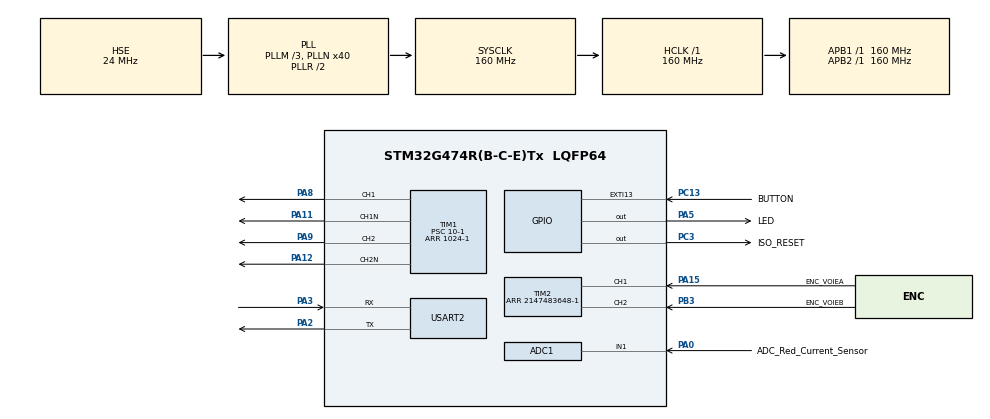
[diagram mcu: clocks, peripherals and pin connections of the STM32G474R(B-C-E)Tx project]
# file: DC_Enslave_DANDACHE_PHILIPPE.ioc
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ADC1.Channel-0\#ChannelRegularConversion=ADC_CHANNEL_1
ADC1.DMAContinuousRequests=ENABLE
ADC1.ExternalTrigConv=ADC_EXTERNALTRIG_T1_TRGO
ADC1.NbrOfConversion=1
ADC1.NbrOfConversionFlag=1
ADC1.OffsetNumber-0\#ChannelRegularConversion=ADC_OFFSET_NONE
ADC1.Rank-0\#ChannelRegularConversion=1
ADC1.SamplingTime-0\#ChannelRegularConversion=ADC_SAMPLETIME_24CYCLES_5
ADC1.master=1
Dma.ADC1.0.Direction=DMA_PERIPH_TO_MEMORY
Dma.ADC1.0.EventEnable=DISABLE
Dma.ADC1.0.Instance=DMA1_Channel1
Dma.ADC1.0.MemDataAlignment=DMA_MDATAALIGN_HALFWORD
Dma.ADC1.0.MemInc=DMA_MINC_ENABLE
Dma.ADC1.0.Mode=DMA_CIRCULAR
Dma.ADC1.0.PeriphDataAlignment=DMA_PDATAALIGN_HALFWORD
Dma.ADC1.0.PeriphInc=DMA_PINC_DISABLE
Dma.ADC1.0.Polarity=HAL_DMAMUX_REQ_GEN_RISING
Dma.ADC1.0.Priority=DMA_PRIORITY_LOW
Dma.ADC1.0.RequestNumber=1
Dma.ADC1.0.SignalID=NONE
Dma.ADC1.0.SyncEnable=DISABLE
Dma.ADC1.0.SyncPolarity=HAL_DMAMUX_SYNC_NO_EVENT
Dma.ADC1.0.SyncRequestNumber=1
Dma.ADC1.0.SyncSignalID=NONE
Dma.Request0=ADC1
Mcu.Family=STM32G4
Mcu.Name=STM32G474R(B-C-E)Tx
Mcu.Package=LQFP64
NVIC.DMA1_Channel1_IRQn=true\:0\:0\:false\:false\:true\:false\:true\:true
NVIC.EXTI15_10_IRQn=true\:0\:0\:false\:false\:true\:true\:true\:true
NVIC.PriorityGroup=NVIC_PRIORITYGROUP_4
NVIC.TIM1_UP_TIM16_IRQn=true\:0\:0\:false\:false\:true\:true\:true\:true
NVIC.TIM3_IRQn=true\:0\:0\:false\:false\:true\:true\:true\:true
NVIC.TIM4_IRQn=true\:0\:0\:false\:false\:true\:true\:true\:true
NVIC.TIM6_DAC_IRQn=true\:0\:0\:false\:false\:true\:true\:true\:true
NVIC.USART2_IRQn=true\:0\:0\:false\:false\:true\:true\:true\:true
PA0.GPIO_Label=ADC_Red_Current_Sensor
PA0.Mode=IN1-Single-Ended
PA0.Signal=ADC1_IN1
PA11.Mode=PWM Generation1 CH1 CH1N
PA11.Signal=TIM1_CH1N
PA12.Mode=PWM Generation2 CH2 CH2N
PA12.Signal=TIM1_CH2N
PA13.GPIO_Label=T_SWDIO
PA13.Mode=Serial_Wire
PA13.Signal=SYS_JTMS-SWDIO
PA14.GPIO_Label=T_SWCLK
PA14.Mode=Serial_Wire
PA14.Signal=SYS_JTCK-SWCLK
PA15.GPIO_Label=ENC_VOIEA
PA15.Signal=S_TIM2_CH1
PA2.Mode=Asynchronous
PA2.Signal=USART2_TX
PA3.Mode=Asynchronous
PA3.Signal=USART2_RX
PA5.GPIO_Label=LED
PA5.Signal=GPIO_Output
PA8.Signal=S_TIM1_CH1
PA9.Signal=S_TIM1_CH2
PB3.GPIO_Label=ENC_VOIEB
PB3.Signal=S_TIM2_CH2
PC13.GPIO_Label=BUTTON
PC13.Signal=GPXTI13
PC14-OSC32_IN.Mode=LSE-External-Oscillator
PC14-OSC32_IN.Signal=RCC_OSC32_IN
PC15-OSC32_OUT.Mode=LSE-External-Oscillator
PC15-OSC32_OUT.Signal=RCC_OSC32_OUT
PC3.GPIO_Label=ISO_RESET
PC3.Signal=GPIO_Output
PF0-OSC_IN.Mode=HSE-External-Oscillator
PF0-OSC_IN.Signal=RCC_OSC_IN
PF1-OSC_OUT.Mode=HSE-External-Oscillator
PF1-OSC_OUT.Signal=RCC_OSC_OUT
ProjectManager.HeapSize=0x200
ProjectManager.StackSize=0x400
ProjectManager.TargetToolchain=STM32CubeIDE
RCC.ADC12Freq_Value=160000000
RCC.ADC345Freq_Value=160000000
RCC.AHBFreq_Value=160000000
RCC.APB1Freq_Value=160000000
RCC.APB1TimFreq_Value=160000000
RCC.APB2Freq_Value=160000000
RCC.APB2TimFreq_Value=160000000
RCC.CortexFreq_Value=160000000
RCC.EXTERNAL_CLOCK_VALUE=12288000
RCC.HCLKFreq_Value=160000000
RCC.HSE_VALUE=24000000
RCC.HSI48_VALUE=48000000
RCC.HSI_VALUE=16000000
RCC.PLLM=RCC_PLLM_DIV3
RCC.PLLN=40
RCC.PLLSourceVirtual=RCC_PLLSOURCE_HSE
RCC.RTCClockSelection=RCC_RTCCLKSOURCE_LSE
RCC.SYSCLKFreq_VALUE=160000000
RCC.SYSCLKSource=RCC_SYSCLKSOURCE_PLLCLK
RCC.USBFreq_Value=160000000
RCC.VCOOutputFreq_Value=320000000
SH.S_TIM1_CH1.0=TIM1_CH1,PWM Generation1 CH1 CH1N
SH.S_TIM1_CH2.0=TIM1_CH2,PWM Generation2 CH2 CH2N
SH.S_TIM2_CH1.0=TIM2_CH1,Encoder_Interface
SH.S_TIM2_CH2.0=TIM2_CH2,Encoder_Interface
TIM1.AutoReloadPreload=TIM_AUTORELOAD_PRELOAD_ENABLE
TIM1.BreakState=TIM_BREAK_DISABLE
TIM1.Channel-PWM\ Generation1\ CH1\ CH1N=TIM_CHANNEL_1
TIM1.Channel-PWM\ Generation2\ CH2\ CH2N=TIM_CHANNEL_2
TIM1.CounterMode=TIM_COUNTERMODE_CENTERALIGNED1
TIM1.DeadTime=208
TIM1.DeadTimePreload=ENABLE
TIM1.PeriodNoDither=1024-1
TIM1.Prescaler=10-1
TIM1.PulseNoDither_1=512
TIM1.PulseNoDither_2=512
TIM1.TIM_MasterOutputTrigger=TIM_TRGO_UPDATE
TIM1.TIM_MasterSlaveMode=TIM_MASTERSLAVEMODE_ENABLE
TIM2.AutoReloadPreload=TIM_AUTORELOAD_PRELOAD_ENABLE
TIM2.EncoderMode=TIM_ENCODERMODE_TI12
TIM2.IC1Filter=0
TIM2.IC2Filter=0
TIM2.PeriodNoDither=2147483648-1
TIM3.AutoReloadPreload=TIM_AUTORELOAD_PRELOAD_ENABLE
TIM3.PeriodNoDither=10000-1
TIM3.Prescaler=16000-1
TIM4.AutoReloadPreload=TIM_AUTORELOAD_PRELOAD_ENABLE
TIM4.CounterMode=TIM_COUNTERMODE_UP
TIM4.PeriodNoDither=10240-1
TIM4.Prescaler=100-1
TIM6.AutoReloadPreload=TIM_AUTORELOAD_PRELOAD_ENABLE
TIM6.PeriodNoDither=512-1
TIM6.TIM_MasterOutputTrigger=TIM_TRGO_UPDATE
USART2.VirtualMode-Asynchronous=VM_ASYNC
VP_SYS_VS_DBSignals.Mode=DisableDeadBatterySignals
VP_TIM1_VS_ClockSourceINT.Mode=Internal
VP_TIM3_VS_ClockSourceINT.Mode=Internal
VP_TIM4_VS_ClockSourceINT.Mode=Internal
VP_TIM6_VS_ClockSourceINT.Mode=Enable_Timer
board=NUCLEO-G474RE

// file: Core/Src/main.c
/* USER CODE BEGIN Header */
/**
  ******************************************************************************
  * @file           : main.c
  * @brief          : Main program body
  ******************************************************************************
  * @attention
  *
  * Copyright (c) 2022 STMicroelectronics.
  * All rights reserved.
  *
  * This software is licensed under terms that can be found in the LICENSE file
  * in the root directory of this software component.
  * If no LICENSE file comes with this software, it is provided AS-IS.
  *
  ******************************************************************************
  */
/* USER CODE END Header */
#include "main.h"
#include "adc.h"
#include "dma.h"
#include "tim.h"
#include "usart.h"
#include "gpio.h"

/* USER CODE BEGIN Includes */

#include "PI.h"
#include "shell2.h"
#include <stdio.h>
#include <stdlib.h>
#include <string.h>
#include "commandeMCC.h"

/* USER CODE END Includes */

/* USER CODE BEGIN PV */

int it_button = 0;
int adcCbck = 0;
int it_tim1 = 0;
int it_tim3 = 0;
int it_tim4 = 0;
int speed = 0;
int angle = 0;

PIController alphaPI;
float i_consigne = 0.0;

PIController currentPI;
float v_consigne = 0.0;

extern uint8_t uartRxReceived;
extern uint8_t uartRxBuffer[UART_RX_BUFFER_SIZE];
extern uint8_t uartTxBuffer[UART_TX_BUFFER_SIZE];

uint32_t adcBuffer[1] = {0};
/* USER CODE END PV */

void SystemClock_Config(void);

int main(void)
{
  /* USER CODE BEGIN 1 */
	int enPrint = 0;

  /* USER CODE END 1 */

  /* MCU Configuration--------------------------------------------------------*/

  /* Reset of all peripherals, Initializes the Flash interface and the Systick. */
  HAL_Init();

  /* Configure the system clock */
  SystemClock_Config();

  /* Initialize all configured peripherals */
  MX_GPIO_Init();
  MX_DMA_Init();
  MX_TIM1_Init();
  MX_USART2_UART_Init();
  MX_ADC1_Init();
  MX_TIM2_Init();
  MX_TIM3_Init();
  MX_TIM4_Init();
  MX_TIM6_Init();
  /* USER CODE BEGIN 2 */

  /* USER CODE END 2 - Shell*/

  //Commande PWM Init
  HAL_TIM_Base_Start_IT(&htim1);
  HAL_TIM_PWM_Start(&htim1, TIM_CHANNEL_1);
  HAL_TIM_PWM_Start(&htim1, TIM_CHANNEL_2);
  HAL_TIMEx_PWMN_Start(&htim1, TIM_CHANNEL_1);
  HAL_TIMEx_PWMN_Start(&htim1, TIM_CHANNEL_2);

  //UART Init
  HAL_UART_Receive_IT(&huart2, uartRxBuffer, UART_RX_BUFFER_SIZE);

  //SHELL Init
  HAL_Delay(1);
  shellInit();

  //ADC Init
  HAL_ADCEx_Calibration_Start (&hadc1, ADC_SINGLE_ENDED);
  HAL_ADC_Start_DMA(&hadc1, adcBuffer, 1);

  //TIMERs Init
  HAL_TIM_Encoder_Start(&htim2, TIM_CHANNEL_ALL);

  HAL_TIM_Base_Start_IT(&htim3);

  HAL_TIM_Base_Start_IT(&htim4);

  //Asserv courant Init
  PIController_Init(&alphaPI);

  alphaPI.Kp = KP_ALPHA;
  alphaPI.Ki = KI_ALPHA;

  alphaPI.T = TIM1_PERIOD;

  alphaPI.integrator = ALPHA_MEM_I;

  alphaPI.limMax_integrator = ALPHA_OUT_MAX_VALUE;
  alphaPI.limMin_integrator = ALPHA_OUT_MIN_VALUE;

  alphaPI.limMax_output = ALPHA_OUT_MAX_VALUE;
  alphaPI.limMin_output = ALPHA_OUT_MIN_VALUE;

  //Asserv vitesse Init

  PIController_Init(&currentPI);

  currentPI.Kp = KP_CURRENT;
  currentPI.Ki = KI_CURRENT;

  currentPI.T = TIM4_PERIOD;

  currentPI.limMax_integrator = CURRENT_OUT_MAX_VALUE;
  currentPI.limMin_integrator = -CURRENT_OUT_MAX_VALUE;

  currentPI.limMax_output = CURRENT_OUT_MAX_VALUE;
  currentPI.limMin_output = -CURRENT_OUT_MAX_VALUE;

  /* USER CODE END 2 */

  /* Infinite loop */
  /* USER CODE BEGIN WHILE */
  while (1)
  {
// SuperLoop inside the while(1), only flag changed from interrupt could launch functions
 		if(uartRxReceived)
 		{
  			if(shellGetChar())
  			{
  				shellExec();
  				shellPrompt();
  			}
  			uartRxReceived = 0;
  		}

 		if(it_button==1)
 		{
 			//uint8_t text[]="interruption \r\nquali>";
 			//HAL_UART_Transmit(&huart2, text, sizeof(text), HAL_MAX_DELAY);
 			//Init_Onduleur();

 			if (enPrint) enPrint = 0;
 			else enPrint = 1;

 			it_button = 0;
 		}

 		if(adcCbck == 1)
 		{
 			adcCbck = 0;
 		}

 		if(it_tim1)
 		{

 			PIController_Update(&alphaPI, i_consigne, GetCurrent());

 			setPWM((int)(alphaPI.out*100));

 			it_tim1 = 0;
 		}

 		if(it_tim3)
 		{

			if(enPrint)
				{
					/*ReadEncodeur();
					ReadSpeed();
					PrintData();
					uint8_t MSG[CMD_BUFFER_SIZE] = {'\0'};
					sprintf((char *)MSG, "alphaPI = %f\n\r", alphaPI.out);
					HAL_UART_Transmit(&huart2, MSG, sizeof(MSG), 100);*/

					uint8_t MSG[CMD_BUFFER_SIZE] = {'\0'};

					sprintf((char *)MSG, "Speed = %f tick/periode\n\r", GetSpeed(TICK2SPEED_TIM4));
					HAL_UART_Transmit(&huart2, MSG, sizeof(MSG), 100);
				}

 			it_tim3 = 0;
 		}

 		if(it_tim4)
 		{

 			ReadEncodeur();
 			ReadSpeed();

 			PIController_Update(&currentPI, v_consigne, GetSpeed(TICK2SPEED_TIM4));

 			i_consigne = currentPI.out;

 			it_tim4 = 0;

 		}

    /* USER CODE END WHILE */

  }
}

void SystemClock_Config(void)
{
  RCC_OscInitTypeDef RCC_OscInitStruct = {0};
  RCC_ClkInitTypeDef RCC_ClkInitStruct = {0};

  /** Configure the main internal regulator output voltage
  */
  HAL_PWREx_ControlVoltageScaling(PWR_REGULATOR_VOLTAGE_SCALE1_BOOST);

  /** Initializes the RCC Oscillators according to the specified parameters
  * in the RCC_OscInitTypeDef structure.
  */
  RCC_OscInitStruct.OscillatorType = RCC_OSCILLATORTYPE_HSE;
  RCC_OscInitStruct.HSEState = RCC_HSE_ON;
  RCC_OscInitStruct.PLL.PLLState = RCC_PLL_ON;
  RCC_OscInitStruct.PLL.PLLSource = RCC_PLLSOURCE_HSE;
  RCC_OscInitStruct.PLL.PLLM = RCC_PLLM_DIV3;
  RCC_OscInitStruct.PLL.PLLN = 40;
  RCC_OscInitStruct.PLL.PLLP = RCC_PLLP_DIV2;
  RCC_OscInitStruct.PLL.PLLQ = RCC_PLLQ_DIV2;
  RCC_OscInitStruct.PLL.PLLR = RCC_PLLR_DIV2;
  if (HAL_RCC_OscConfig(&RCC_OscInitStruct) != HAL_OK)
  {
    Error_Handler();
  }

  /** Initializes the CPU, AHB and APB buses clocks
  */
  RCC_ClkInitStruct.ClockType = RCC_CLOCKTYPE_HCLK|RCC_CLOCKTYPE_SYSCLK
                              |RCC_CLOCKTYPE_PCLK1|RCC_CLOCKTYPE_PCLK2;
  RCC_ClkInitStruct.SYSCLKSource = RCC_SYSCLKSOURCE_PLLCLK;
  RCC_ClkInitStruct.AHBCLKDivider = RCC_SYSCLK_DIV1;
  RCC_ClkInitStruct.APB1CLKDivider = RCC_HCLK_DIV1;
  RCC_ClkInitStruct.APB2CLKDivider = RCC_HCLK_DIV1;

  if (HAL_RCC_ClockConfig(&RCC_ClkInitStruct, FLASH_LATENCY_4) != HAL_OK)
  {
    Error_Handler();
  }
}

/* USER CODE BEGIN 4 */

/**
 * @brief Fonction appelée à la fin de la conversion de l'ADC
 *
 * @param hadc
 *
 * @retval None
 */
void HAL_ADC_ConvCpltCallback(ADC_HandleTypeDef* hadc)
{
	adcCbck = 1;
}

/**
 * @brief Fonction appelée lors du Callback des Timers
 *
 * @param htim
 *
 * @retval
 */
void HAL_TIM_PeriodElapsedCallback(TIM_HandleTypeDef *htim)
{
	/* USER CODE BEGIN Callback 0 */

	/* USER CODE END Callback 0 */
	if (htim->Instance == TIM6) {
		HAL_IncTick();
	}
	/* USER CODE BEGIN Callback 1 */
	if (htim->Instance == TIM3)
	{
		it_tim3 = 1;
	}
	if (htim->Instance == TIM4)
	{
		it_tim4 = 1;
	}
	if (htim->Instance == TIM1)
	{
		it_tim1 = 1;
	}
	/* USER CODE END Callback 1 */
}

/**
 * @brief Fonction qui permet d'utiliser le printf avec l'USART2
 *
 * @param ch
 *
 * @return ch
 */
int __io_putchar(int ch) //COM Serial via printf
{
	HAL_UART_Transmit(&huart2, (uint8_t *)&ch, 1, HAL_MAX_DELAY);
	return ch;
}

/**
 * @brief Fonction appelée lors d'une interruption EXTI
 *
 * @param GPIO_Pin
 *
 * @retval None
 */
void HAL_GPIO_EXTI_Callback(uint16_t GPIO_Pin)  // <----- The ISR Function We're Looking For!
{
	it_button = 1;
}

/* USER CODE END 4 */

void Error_Handler(void)
{
  __disable_irq();
  while (1)
  {
  }
}
